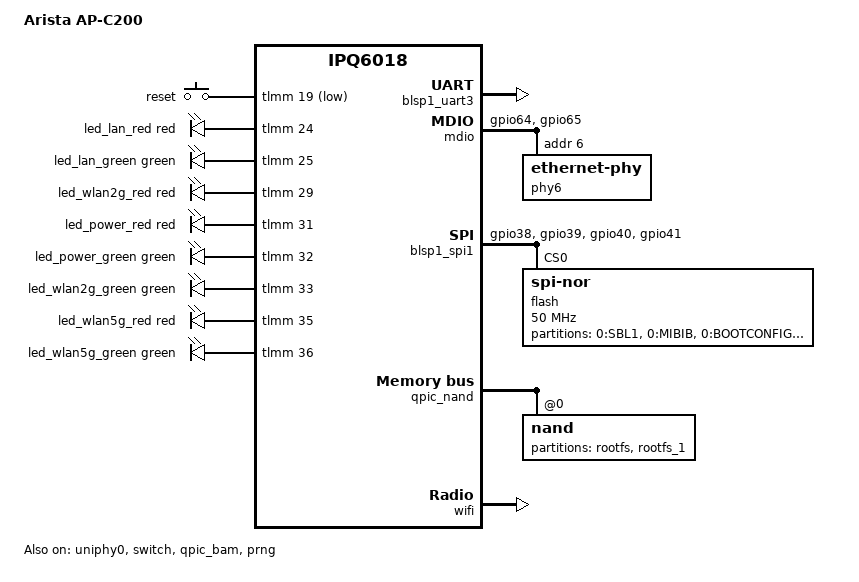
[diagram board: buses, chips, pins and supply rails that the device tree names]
// SPDX-License-Identifier: GPL-2.0-or-later OR MIT

/dts-v1/;

#include "ipq6018.dtsi"
#include "ipq6018-cp-cpu.dtsi"
#include "ipq6018-ess.dtsi"

#include <dt-bindings/gpio/gpio.h>
#include <dt-bindings/input/input.h>
#include <dt-bindings/leds/common.h>

/ {
	model = "Arista AP-C200";
	compatible = "arista,ap-c200", "qcom,ipq6018";

	aliases {
		serial0 = &blsp1_uart3;
		ethernet0 = &swport1;
		label-mac-device = &swport1;

		led-boot = &led_power_green;
		led-failsafe = &led_power_red;
		led-running = &led_power_green;
		led-upgrade = &led_power_red;
	};

	chosen {
		stdout-path = "serial0:115200n8";
		bootargs-append = " root=/dev/ubiblock0_1";
	};

	keys {
		compatible = "gpio-keys";
		pinctrl-0 = <&button_pins>;
		pinctrl-names = "default";

		reset {
			label = "reset";
			gpios = <&tlmm 19 GPIO_ACTIVE_LOW>;
			linux,code = <KEY_RESTART>;
			debounce-interval = <60>;
		};
	};

	leds {
		compatible = "gpio-leds";
		pinctrl-0 = <&led_pins>;
		pinctrl-names = "default";

		led_lan_red: led-lan-red {
			color = <LED_COLOR_ID_RED>;
			function = LED_FUNCTION_LAN;
			gpios = <&tlmm 24 GPIO_ACTIVE_HIGH>;
		};

		led_lan_green: led-lan-green {
			color = <LED_COLOR_ID_GREEN>;
			function = LED_FUNCTION_LAN;
			gpios = <&tlmm 25 GPIO_ACTIVE_HIGH>;
		};

		led_wlan2g_red: led-wlan2g-red {
			color = <LED_COLOR_ID_RED>;
			function = LED_FUNCTION_WLAN;
			function-enumerator = <0>;
			gpios = <&tlmm 29 GPIO_ACTIVE_HIGH>;
		};

		led_power_red: led-power-red {
			color = <LED_COLOR_ID_RED>;
			function = LED_FUNCTION_POWER;
			gpios = <&tlmm 31 GPIO_ACTIVE_HIGH>;
		};

		led_power_green: led-power-green {
			color = <LED_COLOR_ID_GREEN>;
			function = LED_FUNCTION_POWER;
			gpios = <&tlmm 32 GPIO_ACTIVE_HIGH>;
			default-state = "on";
		};

		led_wlan2g_green: led-wlan2g-green {
			color = <LED_COLOR_ID_GREEN>;
			function = LED_FUNCTION_WLAN;
			function-enumerator = <0>;
			gpios = <&tlmm 33 GPIO_ACTIVE_HIGH>;
		};

		led_wlan5g_red: led-wlan5g-red {
			color = <LED_COLOR_ID_RED>;
			function = LED_FUNCTION_WLAN;
			function-enumerator = <1>;
			gpios = <&tlmm 35 GPIO_ACTIVE_HIGH>;
		};

		led_wlan5g_green: led-wlan5g-green {
			color = <LED_COLOR_ID_GREEN>;
			function = LED_FUNCTION_WLAN;
			function-enumerator = <1>;
			gpios = <&tlmm 36 GPIO_ACTIVE_HIGH>;
		};
	};
};

&tlmm {
	mdio_pins: mdio-pins {
		mdc {
			pins = "gpio64";
			function = "mdc";
			drive-strength = <8>;
			bias-pull-up;
		};

		mdio {
			pins = "gpio65";
			function = "mdio";
			drive-strength = <8>;
			bias-pull-up;
		};
	};

	led_pins: led-pins {
		pins = "gpio24", "gpio25", "gpio29", "gpio31",
		       "gpio32", "gpio33", "gpio35", "gpio36";
		function = "gpio";
		drive-strength = <8>;
		bias-pull-down;
	};

	button_pins: button-pins {
		pins = "gpio19";
		function = "gpio";
		drive-strength = <8>;
		bias-pull-up;
	};

	spi_nor_pins: spi-nor-pins {
		pins = "gpio38", "gpio39", "gpio40", "gpio41";
		function = "blsp0_spi";
		drive-strength = <8>;
		bias-pull-down;
	};
};

&blsp1_uart3 {
	pinctrl-0 = <&serial_3_pins>;
	pinctrl-names = "default";
	status = "okay";
};

&mdio {
	status = "okay";
	pinctrl-0 = <&mdio_pins>;
	pinctrl-names = "default";

	phy6: ethernet-phy@6 {
		reg = <6>;
		/*
		 * GPIO 75 is not the PHY reset on this board. Requesting
		 * it drops the link. A BMCR soft reset also leaves the
		 * reset bit set, so phy_init_hw() never finishes.
		 */
		qca,keep-pll-enabled;
		qca,disable-hibernation-mode;
		qca,skip-soft-reset;
	};
};

&edma {
	status = "okay";
};

&uniphy0 {
	status = "okay";
};

&switch {
	status = "okay";

	ports {
		#address-cells = <1>;
		#size-cells = <0>;

		port@0 {
			reg = <0>;
			ethernet = <&edma>;
			phy-mode = "internal";

			fixed-link {
				speed = <1000>;
				full-duplex;
			};
		};

		swport1: port@1 {
			reg = <1>;
			label = "lan";
			phy-handle = <&phy6>;
			phy-mode = "sgmii";
			pcs-handle = <&uniphy0 0>;
			nvmem-cells = <&macaddr_art_18>;
			nvmem-cell-names = "mac-address";
		};
	};
};

&blsp1_spi1 {
	pinctrl-0 = <&spi_nor_pins>;
	pinctrl-names = "default";
	status = "okay";

	flash@0 {
		compatible = "jedec,spi-nor";
		reg = <0>;
		spi-max-frequency = <50000000>;

		partitions {
			compatible = "fixed-partitions";
			#address-cells = <1>;
			#size-cells = <1>;

			partition@0 {
				label = "0:SBL1";
				reg = <0x000000 0x0c0000>;
				read-only;
			};

			partition@c0000 {
				label = "0:MIBIB";
				reg = <0x0c0000 0x010000>;
				read-only;
			};

			partition@d0000 {
				label = "0:BOOTCONFIG";
				reg = <0x0d0000 0x020000>;
				read-only;
			};

			partition@f0000 {
				label = "0:BOOTCONFIG1";
				reg = <0x0f0000 0x020000>;
				read-only;
			};

			partition@110000 {
				label = "0:QSEE";
				reg = <0x110000 0x1a0000>;
				read-only;
			};

			partition@2b0000 {
				label = "0:QSEE_1";
				reg = <0x2b0000 0x1a0000>;
				read-only;
			};

			partition@450000 {
				label = "0:DEVCFG";
				reg = <0x450000 0x010000>;
				read-only;
			};

			partition@460000 {
				label = "0:DEVCFG_1";
				reg = <0x460000 0x010000>;
				read-only;
			};

			partition@470000 {
				label = "0:RPM";
				reg = <0x470000 0x040000>;
				read-only;
			};

			partition@4b0000 {
				label = "0:RPM_1";
				reg = <0x4b0000 0x040000>;
				read-only;
			};

			partition@4f0000 {
				label = "0:CDT";
				reg = <0x4f0000 0x010000>;
				read-only;
			};

			partition@500000 {
				label = "0:CDT_1";
				reg = <0x500000 0x010000>;
				read-only;
			};

			partition@510000 {
				label = "0:APPSBLENV";
				reg = <0x510000 0x010000>;
				read-only;
			};

			partition@520000 {
				label = "0:APPSBL";
				reg = <0x520000 0x100000>;
				read-only;
			};

			partition@620000 {
				label = "0:APPSBL_1";
				reg = <0x620000 0x100000>;
				read-only;
			};

			partition@720000 {
				label = "0:ART";
				reg = <0x720000 0x040000>;
				read-only;

				nvmem-layout {
					compatible = "fixed-layout";
					#address-cells = <1>;
					#size-cells = <1>;

					macaddr_art_18: macaddr@18 {
						reg = <0x18 0x6>;
					};
				};
			};

			partition@760000 {
				label = "HL_backup0";
				reg = <0x760000 0x800000>;
				read-only;
			};

			partition@f60000 {
				label = "HL_backup1";
				reg = <0xf60000 0x800000>;
				read-only;
			};

			partition@1760000 {
				label = "CONFIG";
				reg = <0x1760000 0x400000>;
				read-only;
			};

			partition@1b60000 {
				label = "LOGGING";
				reg = <0x1b60000 0x100000>;
				read-only;
			};

			partition@1c60000 {
				label = "DEVCERT";
				reg = <0x1c60000 0x020000>;
				read-only;
			};

			partition@1c80000 {
				label = "RESERVED";
				reg = <0x1c80000 0x380000>;
				read-only;
			};
		};
	};
};

&qpic_bam {
	status = "okay";
};

&qpic_nand {
	status = "okay";

	nand@0 {
		reg = <0>;
		nand-ecc-strength = <4>;
		nand-ecc-step-size = <512>;
		nand-bus-width = <8>;

		/*
		 * The SMEM parser multiplies its block counts by the
		 * NAND erase size and doubles these ranges. Use the
		 * stock byte addresses instead.
		 */
		partitions {
			compatible = "fixed-partitions";
			#address-cells = <1>;
			#size-cells = <1>;

			partition@0 {
				label = "rootfs";
				reg = <0x0 0x10000000>;
			};

			partition@10000000 {
				label = "rootfs_1";
				reg = <0x10000000 0x10000000>;
				read-only;
			};
		};
	};
};

&wifi {
	status = "okay";
	qcom,ath11k-calibration-variant = "Arista-AP-C200";
};

&prng {
	status = "okay";
};
